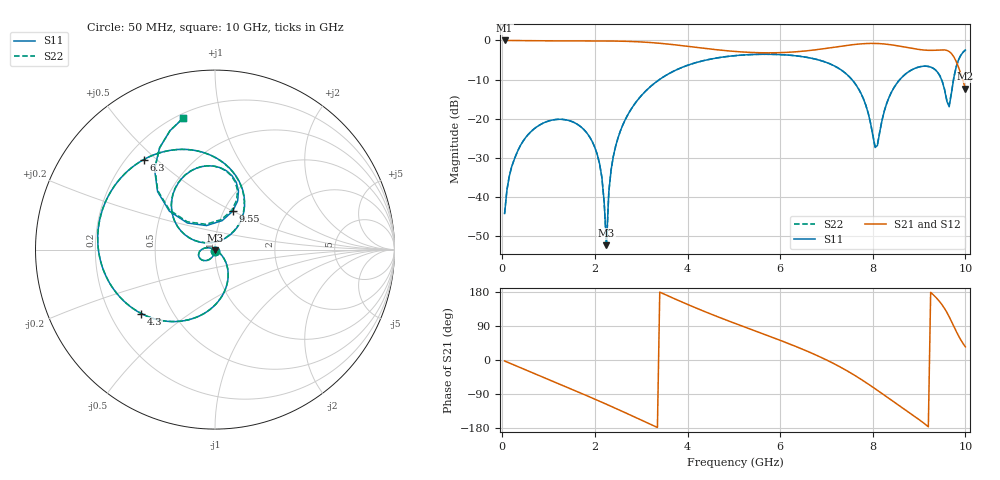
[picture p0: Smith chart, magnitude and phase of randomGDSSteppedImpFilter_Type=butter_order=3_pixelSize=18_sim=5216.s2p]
! freq	dB(S11)	phase(S11)	dB(S12)	phase(S12)
!  dB(S21)	phase(S21)	dB(S22)	phase(S22)
!S-par simulation data
#  GHz  S  DB  R 50
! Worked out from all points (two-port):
!   200 points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, 50 MHz to 10 GHz, reference 50 ohm
!   highest |S21| = 0.00 dB at 50 MHz (marker M1); lowest = -12.3 dB at 10 GHz (marker M2)
!   |S21| within 3 dB of the highest: start of sweep to 5.261 GHz; 6.214 GHz to 9.667 GHz (3.453 GHz wide, 43.5 % of centre)
!   lowest |S11| = -52.4 dB at 2.25 GHz (marker M3), VSWR 1.00, Z = 49.9 - j0.213 ohm
!   |S11| at or under -10 dB: start of sweep to 3.393 GHz; 7.549 GHz to 8.585 GHz (1.036 GHz wide, 12.8 % of centre); 9.483 GHz to 9.744 GHz (261.1 MHz wide, 2.72 % of centre)
!   |S22| runs from -52.6 to -2.4 dB; largest |S21 - S12| = 0
!   S11 on the Smith chart (normalised r, x): 50 MHz: 1.00, -0.01; 4.3 GHz: 0.33, -0.34; 6.3 GHz: 0.27, +0.46; 9.55 GHz: 1.10, +0.50; 10 GHz: 0.23, +0.76
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0.05  -44.24 -91.7  -0.00 -2.6  -0.00 -2.6  -44.24 -91.7
0.2  -32.39 -98.8  -0.02 -10.4  -0.02 -10.4  -32.39 -98.8
0.55  -24.18 -119.0  -0.06 -28.4  -0.06 -28.4  -24.18 -119.0
1.75  -22.65 179.3  -0.13 -90.2  -0.13 -90.2  -22.65 179.1
2.1  -31.51 161.6  -0.13 -108.7  -0.13 -108.7  -31.50 161.2
2.2  -41.37 159.4  -0.14 -114.1  -0.14 -114.1  -41.37 158.3
2.25  -52.41 -117.2  -0.14 -116.8  -0.14 -116.8  -52.60 -120.8
2.35  -33.05 -34.8  -0.15 -122.3  -0.15 -122.3  -33.05 -34.5
2.5  -24.86 -42.1  -0.18 -130.5  -0.18 -130.5  -24.86 -42.0
3.4  -9.94 -91.7  -0.73 179.1  -0.73 179.1  -9.95 -91.7
4.3  -5.29 -139.1  -1.93 131.3  -1.93 131.3  -5.29 -139.1
5.05  -3.86 -174.5  -2.84 95.4  -2.84 95.4  -3.86 -174.5
6.3  -3.88 128.4  -2.94 37.6  -2.94 37.6  -3.88 128.4
6.7  -4.61 108.3  -2.49 17.1  -2.49 17.1  -4.61 108.4
7.65  -11.58 52.6  -0.98 -43.6  -0.98 -43.6  -11.57 53.0
8.05  -27.38 84.0  -0.76 -75.7  -0.76 -75.7  -27.13 84.8
8.35  -14.59 153.8  -1.03 -101.4  -1.03 -101.4  -14.57 153.7
9.05  -6.65 103.0  -2.39 -161.9  -2.39 -161.9  -6.65 103.4
9.55  -12.59 65.3  -2.42 135.9  -2.42 135.9  -12.49 66.9
9.65  -16.95 109.5  -2.83 114.2  -2.83 114.2  -16.50 109.7
9.8  -6.85 134.7  -5.34 76.2  -5.34 76.2  -6.78 134.1
10  -2.46 103.6  -12.34 34.8  -12.34 34.8  -2.44 103.5
